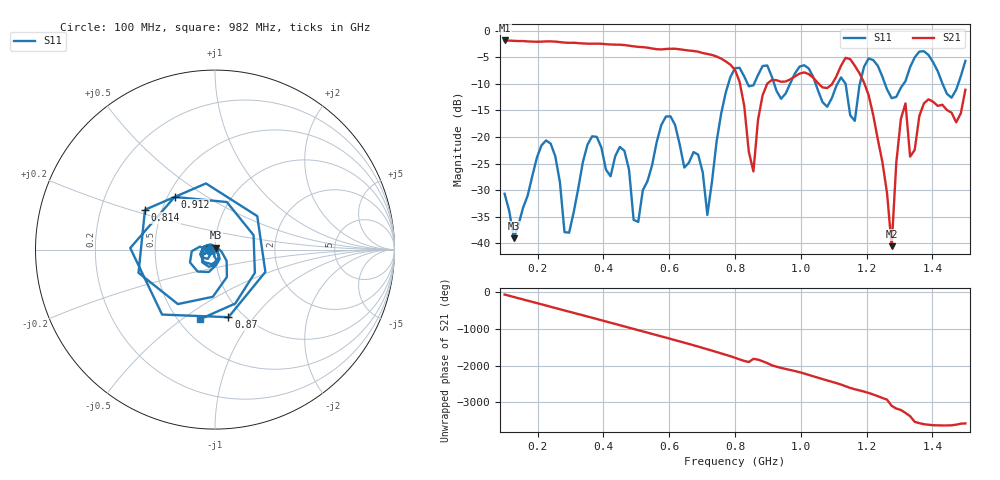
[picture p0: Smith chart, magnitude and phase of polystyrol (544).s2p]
! NanoVNA-App
! Date: 2025-09-25 15:34:07
! Start: 100MHz Stop: 1,5GHz Points: 101
! S-Parameter data: F S11 S21 S12 S22
# Hz S RI R 50
!  Frequency  S11_Real  S11_Imag  S21_Real  S21_Imag  S12_Real  S12_Imag  S22_Real  S22_Imag
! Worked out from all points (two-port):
!   101 points, 100 MHz to 1.5 GHz, reference 50 ohm
!   highest |S21| = -1.80 dB at 100 MHz (marker M1); lowest = -40.6 dB at 1.276 GHz (marker M2)
!   |S21| within 3 dB of the highest: start of sweep to 742.9 MHz
!   lowest |S11| = -39.1 dB at 128 MHz (marker M3), VSWR 1.02, Z = 50.3 + j1.06 ohm
!   |S11| at or under -10 dB: start of sweep to 779.7 MHz; 1.045 GHz to 1.111 GHz (65.91 MHz wide, 6.11 % of centre); 1.256 GHz to 1.312 GHz (56.03 MHz wide, 4.36 % of centre)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
!   S12 and S22 are empty: the file has one direction only
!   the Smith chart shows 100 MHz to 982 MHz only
!   S11 on the Smith chart (normalised r, x): 100 MHz: 0.94, -0.01; 814 MHz: 0.40, +0.22; 870 MHz: 0.85, -0.76; 912 MHz: 0.54, +0.37; 982 MHz: 0.64, -0.59
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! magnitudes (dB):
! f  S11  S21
! 100 MHz  -30.7  -1.8
! 128 MHz  -39.1  -1.9
! 212 MHz  -21.6  -2.0
! 282 MHz  -37.9  -2.2
! 338 MHz  -24.7  -2.4
! 464 MHz  -22.6  -2.7
! 506 MHz  -36.0  -3.0
! 576 MHz  -17.8  -3.5
! 716 MHz  -34.7  -4.3
! 800 MHz  -7.0  -7.4
! 814 MHz  -7.0  -9.6
! 856 MHz  -10.3  -26.5
! 870 MHz  -8.3  -16.7
! 912 MHz  -8.6  -9.2
! 982 MHz  -8.0  -8.6
! 1.038 GHz  -8.7  -8.8
! 1.164 GHz  -17.0  -6.6
! 1.192 GHz  -6.8  -9.7
! 1.276 GHz  -12.7  -40.6
! 1.318 GHz  -9.5  -13.7
! 1.332 GHz  -6.8  -23.7
! 1.5 GHz  -5.6  -11.1
